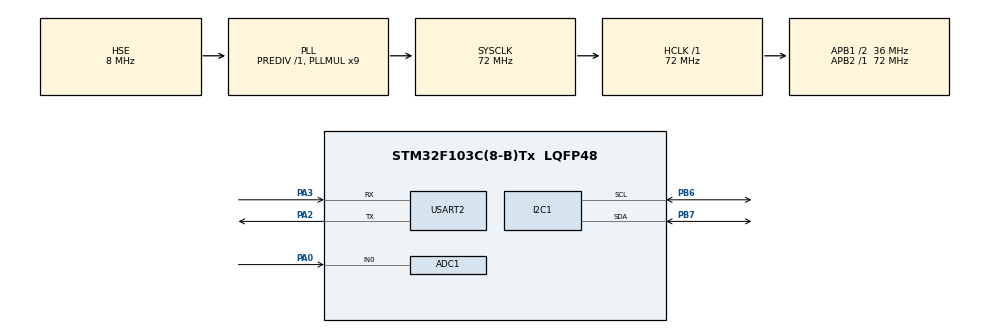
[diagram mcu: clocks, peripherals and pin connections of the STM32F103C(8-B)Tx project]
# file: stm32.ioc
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ADC1.Channel-0\#ChannelRegularConversion=ADC_CHANNEL_0
ADC1.ExternalTrigConv=ADC_EXTERNALTRIGCONV_T3_TRGO
ADC1.NbrOfConversionFlag=1
ADC1.Rank-0\#ChannelRegularConversion=1
ADC1.SamplingTime-0\#ChannelRegularConversion=ADC_SAMPLETIME_1CYCLE_5
ADC1.master=1
I2C1.I2C_Mode=I2C_Fast
Mcu.Family=STM32F1
Mcu.Name=STM32F103C(8-B)Tx
Mcu.Package=LQFP48
NVIC.PriorityGroup=NVIC_PRIORITYGROUP_4
PA0-WKUP.Signal=ADCx_IN0
PA2.Mode=Asynchronous
PA2.Signal=USART2_TX
PA3.Mode=Asynchronous
PA3.Signal=USART2_RX
PB6.Mode=I2C
PB6.Signal=I2C1_SCL
PB7.Mode=I2C
PB7.Signal=I2C1_SDA
PD0-OSC_IN.Mode=HSE-External-Oscillator
PD0-OSC_IN.Signal=RCC_OSC_IN
PD1-OSC_OUT.Mode=HSE-External-Oscillator
PD1-OSC_OUT.Signal=RCC_OSC_OUT
ProjectManager.HeapSize=0x200
ProjectManager.StackSize=0x400
ProjectManager.TargetToolchain=STM32CubeIDE
RCC.ADCPresc=RCC_ADCPCLK2_DIV8
RCC.AHBFreq_Value=72000000
RCC.APB1CLKDivider=RCC_HCLK_DIV2
RCC.APB1Freq_Value=36000000
RCC.APB1TimFreq_Value=72000000
RCC.APB2Freq_Value=72000000
RCC.APB2TimFreq_Value=72000000
RCC.HCLKFreq_Value=72000000
RCC.PLLMUL=RCC_PLL_MUL9
RCC.PLLSourceVirtual=RCC_PLLSOURCE_HSE
RCC.SYSCLKFreq_VALUE=72000000
RCC.SYSCLKSource=RCC_SYSCLKSOURCE_PLLCLK
RCC.USBFreq_Value=72000000
SH.ADCx_IN0.0=ADC1_IN0,IN0
TIM3.Period=999
TIM3.Prescaler=71
TIM3.TIM_MasterOutputTrigger=TIM_TRGO_UPDATE
USART2.VirtualMode=VM_ASYNC
VP_SYS_VS_ND.Mode=No_Debug
VP_TIM3_VS_ClockSourceINT.Mode=Internal
board=custom

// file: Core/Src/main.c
/* USER CODE BEGIN Header */
/**
  ******************************************************************************
  * @file           : main.c
  * @brief          : Predictive Maintenance - MPU6050 & ACS712
  ******************************************************************************
  */
/* USER CODE END Header */
#include "main.h"

/* USER CODE BEGIN Includes */
#include "arm_math.h"
#include <stdio.h>
#include <string.h>
/* USER CODE END Includes */

/* USER CODE BEGIN PD */
#define MPU6050_ADDR (0x68 << 1)
#define FFT_SIZE 512
/* USER CODE END PD */

ADC_HandleTypeDef hadc1;

I2C_HandleTypeDef hi2c1;

TIM_HandleTypeDef htim3;

UART_HandleTypeDef huart2;

/* USER CODE BEGIN PV */
float32_t dsp_input[FFT_SIZE];
float32_t dsp_output[FFT_SIZE];
float32_t dsp_magnitude[FFT_SIZE/2];
arm_rfft_fast_instance_f32 fft_handler;
/* USER CODE END PV */

void SystemClock_Config(void);
static void MX_GPIO_Init(void);
static void MX_ADC1_Init(void);
static void MX_I2C1_Init(void);
static void MX_USART2_UART_Init(void);
static void MX_TIM3_Init(void);
/* USER CODE BEGIN PFP */
void MPU6050_Init(void);
int16_t MPU6050_Read_Accel_Z(void);
/* USER CODE END PFP */

/* USER CODE BEGIN 0 */
void MPU6050_Init(void) {
    uint8_t check;
    uint8_t Data;
    HAL_I2C_Mem_Read(&hi2c1, MPU6050_ADDR, 0x75, 1, &check, 1, 100);
    if (check == 104) {
        Data = 0;
        HAL_I2C_Mem_Write(&hi2c1, MPU6050_ADDR, 0x6B, 1, &Data, 1, 100); //0x6B wake up
        Data = 0x07;
        HAL_I2C_Mem_Write(&hi2c1, MPU6050_ADDR, 0x19, 1, &Data, 1, 100); //0x19 Sample Rate Divider
        Data = 0x00;
        HAL_I2C_Mem_Write(&hi2c1, MPU6050_ADDR, 0x1C, 1, &Data, 1, 100); //ACCEL_CONFIG=0 -> 2g
    }
}

int16_t MPU6050_Read_Accel_Z(void) {
    uint8_t Rec_Data[2];
    int16_t Accel_Z_RAW;
    HAL_I2C_Mem_Read(&hi2c1, MPU6050_ADDR, 0x3F, 1, Rec_Data, 2, 100); //ACCEL_ZOUT
    Accel_Z_RAW = (int16_t)(Rec_Data[0] << 8 | Rec_Data[1]);

    return Accel_Z_RAW;
}
/* USER CODE END 0 */

int main(void)
{

  /* MCU Configuration--------------------------------------------------------*/

  /* Reset of all peripherals, Initializes the Flash interface and the Systick. */
  HAL_Init();

  /* Configure the system clock */
  SystemClock_Config();

  /* Initialize all configured peripherals */
  MX_GPIO_Init();
  MX_ADC1_Init();
  MX_I2C1_Init();
  MX_USART2_UART_Init();
  MX_TIM3_Init();
  /* USER CODE BEGIN 2 */
  MPU6050_Init();
  arm_rfft_fast_init_f32(&fft_handler, FFT_SIZE);
  /* USER CODE END 2 */

  /* Infinite loop */
  /* USER CODE BEGIN WHILE */
  while (1)
  {
	  	  	float32_t dc_offset = 0.0f;

	        // -------------------------------------------------------------
	        // 1. THU THẬP DỮ LIỆU RUNG ĐỘNG (MPU6050) & TÍNH TẦN SỐ (FFT)
	        // -------------------------------------------------------------
	        for (int i = 0; i < FFT_SIZE; i++) {
	            uint32_t start_tick = HAL_GetTick();
	            dsp_input[i] = (float32_t)MPU6050_Read_Accel_Z();
	            dc_offset += dsp_input[i];
	            while ((HAL_GetTick() - start_tick) < 1) {}
	        }

	        dc_offset /= FFT_SIZE;
	        for (int i = 0; i < FFT_SIZE; i++) {
	            dsp_input[i] -= dc_offset;
	        }
	        arm_rfft_fast_f32(&fft_handler, dsp_input, dsp_output, 0);
	        arm_cmplx_mag_f32(dsp_output, dsp_magnitude, FFT_SIZE / 2);

	        // Tìm đỉnh dao động lớn nhất
	        float32_t max_amp;
	        uint32_t max_index;
	        arm_max_f32(&dsp_magnitude[2], (FFT_SIZE / 2) - 2, &max_amp, &max_index);
	        max_index += 2;
	        float actual_freq = (float)max_index * (1000.0f / FFT_SIZE);

	        // -------------------------------------------------------------
	        // 2. THU THẬP DỮ LIỆU DÒNG ĐIỆN (ACS712) QUA ADC
	        // -------------------------------------------------------------
	        uint32_t adc_sum = 0;
	        int sample_count = 100;

	        for (int i = 0; i < sample_count; i++) {
	        	HAL_ADC_Start(&hadc1);
	        	if (HAL_ADC_PollForConversion(&hadc1, 10) == HAL_OK) {
	        		adc_sum += HAL_ADC_GetValue(&hadc1);
	        	}
	        	HAL_ADC_Stop(&hadc1);
	        }

	        float adc_avg = (float)adc_sum / sample_count;
	        float voltage = (adc_avg / 4095.0f) * 3.3f;
	        float current = (voltage - 2.5f) / 0.185f;
	        if (current < 0.0f) {
	        	current = -current;
	        }
	        if (current < 0.05f) {
	        	current = 0.0f;
	        }
	        // -------------------------------------------------------------
	        // 3. GÓI JSON & TRUYỀN SANG ESP32 (UART)
	        // -------------------------------------------------------------
	        char json_payload[150];
	        sprintf(json_payload, "{\"dev\":\"fan1\", \"freq\":%.1f, \"amp\":%.1f, \"current\":%.2f}\n", actual_freq, max_amp, current);
	        HAL_UART_Transmit(&huart2, (uint8_t*)json_payload, strlen(json_payload), 100);
	 /* USER CODE END WHILE */

  }
}

void SystemClock_Config(void)
{
  RCC_OscInitTypeDef RCC_OscInitStruct = {0};
  RCC_ClkInitTypeDef RCC_ClkInitStruct = {0};
  RCC_PeriphCLKInitTypeDef PeriphClkInit = {0};

  /** Initializes the RCC Oscillators according to the specified parameters
  * in the RCC_OscInitTypeDef structure.
  */
  RCC_OscInitStruct.OscillatorType = RCC_OSCILLATORTYPE_HSE;
  RCC_OscInitStruct.HSEState = RCC_HSE_ON;
  RCC_OscInitStruct.HSEPredivValue = RCC_HSE_PREDIV_DIV1;
  RCC_OscInitStruct.HSIState = RCC_HSI_ON;
  RCC_OscInitStruct.PLL.PLLState = RCC_PLL_ON;
  RCC_OscInitStruct.PLL.PLLSource = RCC_PLLSOURCE_HSE;
  RCC_OscInitStruct.PLL.PLLMUL = RCC_PLL_MUL9;
  if (HAL_RCC_OscConfig(&RCC_OscInitStruct) != HAL_OK)
  {
    Error_Handler();
  }

  /** Initializes the CPU, AHB and APB buses clocks
  */
  RCC_ClkInitStruct.ClockType = RCC_CLOCKTYPE_HCLK|RCC_CLOCKTYPE_SYSCLK
                              |RCC_CLOCKTYPE_PCLK1|RCC_CLOCKTYPE_PCLK2;
  RCC_ClkInitStruct.SYSCLKSource = RCC_SYSCLKSOURCE_PLLCLK;
  RCC_ClkInitStruct.AHBCLKDivider = RCC_SYSCLK_DIV1;
  RCC_ClkInitStruct.APB1CLKDivider = RCC_HCLK_DIV2;
  RCC_ClkInitStruct.APB2CLKDivider = RCC_HCLK_DIV1;

  if (HAL_RCC_ClockConfig(&RCC_ClkInitStruct, FLASH_LATENCY_2) != HAL_OK)
  {
    Error_Handler();
  }
  PeriphClkInit.PeriphClockSelection = RCC_PERIPHCLK_ADC;
  PeriphClkInit.AdcClockSelection = RCC_ADCPCLK2_DIV8;
  if (HAL_RCCEx_PeriphCLKConfig(&PeriphClkInit) != HAL_OK)
  {
    Error_Handler();
  }
}

static void MX_ADC1_Init(void)
{

  ADC_ChannelConfTypeDef sConfig = {0};

  /** Common config
  */
  hadc1.Instance = ADC1;
  hadc1.Init.ScanConvMode = ADC_SCAN_DISABLE;
  hadc1.Init.ContinuousConvMode = DISABLE;
  hadc1.Init.DiscontinuousConvMode = DISABLE;
  hadc1.Init.ExternalTrigConv = ADC_EXTERNALTRIGCONV_T3_TRGO;
  hadc1.Init.DataAlign = ADC_DATAALIGN_RIGHT;
  hadc1.Init.NbrOfConversion = 1;
  if (HAL_ADC_Init(&hadc1) != HAL_OK)
  {
    Error_Handler();
  }

  /** Configure Regular Channel
  */
  sConfig.Channel = ADC_CHANNEL_0;
  sConfig.Rank = ADC_REGULAR_RANK_1;
  sConfig.SamplingTime = ADC_SAMPLETIME_1CYCLE_5;
  if (HAL_ADC_ConfigChannel(&hadc1, &sConfig) != HAL_OK)
  {
    Error_Handler();
  }

}

static void MX_I2C1_Init(void)
{

  hi2c1.Instance = I2C1;
  hi2c1.Init.ClockSpeed = 400000;
  hi2c1.Init.DutyCycle = I2C_DUTYCYCLE_2;
  hi2c1.Init.OwnAddress1 = 0;
  hi2c1.Init.AddressingMode = I2C_ADDRESSINGMODE_7BIT;
  hi2c1.Init.DualAddressMode = I2C_DUALADDRESS_DISABLE;
  hi2c1.Init.OwnAddress2 = 0;
  hi2c1.Init.GeneralCallMode = I2C_GENERALCALL_DISABLE;
  hi2c1.Init.NoStretchMode = I2C_NOSTRETCH_DISABLE;
  if (HAL_I2C_Init(&hi2c1) != HAL_OK)
  {
    Error_Handler();
  }

}

static void MX_TIM3_Init(void)
{

  TIM_ClockConfigTypeDef sClockSourceConfig = {0};
  TIM_MasterConfigTypeDef sMasterConfig = {0};

  htim3.Instance = TIM3;
  htim3.Init.Prescaler = 71;
  htim3.Init.CounterMode = TIM_COUNTERMODE_UP;
  htim3.Init.Period = 999;
  htim3.Init.ClockDivision = TIM_CLOCKDIVISION_DIV1;
  htim3.Init.AutoReloadPreload = TIM_AUTORELOAD_PRELOAD_DISABLE;
  if (HAL_TIM_Base_Init(&htim3) != HAL_OK)
  {
    Error_Handler();
  }
  sClockSourceConfig.ClockSource = TIM_CLOCKSOURCE_INTERNAL;
  if (HAL_TIM_ConfigClockSource(&htim3, &sClockSourceConfig) != HAL_OK)
  {
    Error_Handler();
  }
  sMasterConfig.MasterOutputTrigger = TIM_TRGO_UPDATE;
  sMasterConfig.MasterSlaveMode = TIM_MASTERSLAVEMODE_DISABLE;
  if (HAL_TIMEx_MasterConfigSynchronization(&htim3, &sMasterConfig) != HAL_OK)
  {
    Error_Handler();
  }

}

static void MX_USART2_UART_Init(void)
{

  huart2.Instance = USART2;
  huart2.Init.BaudRate = 115200;
  huart2.Init.WordLength = UART_WORDLENGTH_8B;
  huart2.Init.StopBits = UART_STOPBITS_1;
  huart2.Init.Parity = UART_PARITY_NONE;
  huart2.Init.Mode = UART_MODE_TX_RX;
  huart2.Init.HwFlowCtl = UART_HWCONTROL_NONE;
  huart2.Init.OverSampling = UART_OVERSAMPLING_16;
  if (HAL_UART_Init(&huart2) != HAL_OK)
  {
    Error_Handler();
  }

}

static void MX_GPIO_Init(void)
{

  /* GPIO Ports Clock Enable */
  __HAL_RCC_GPIOD_CLK_ENABLE();
  __HAL_RCC_GPIOA_CLK_ENABLE();
  __HAL_RCC_GPIOB_CLK_ENABLE();

}

void Error_Handler(void)
{
  __disable_irq();
  while (1)
  {
  }
}
